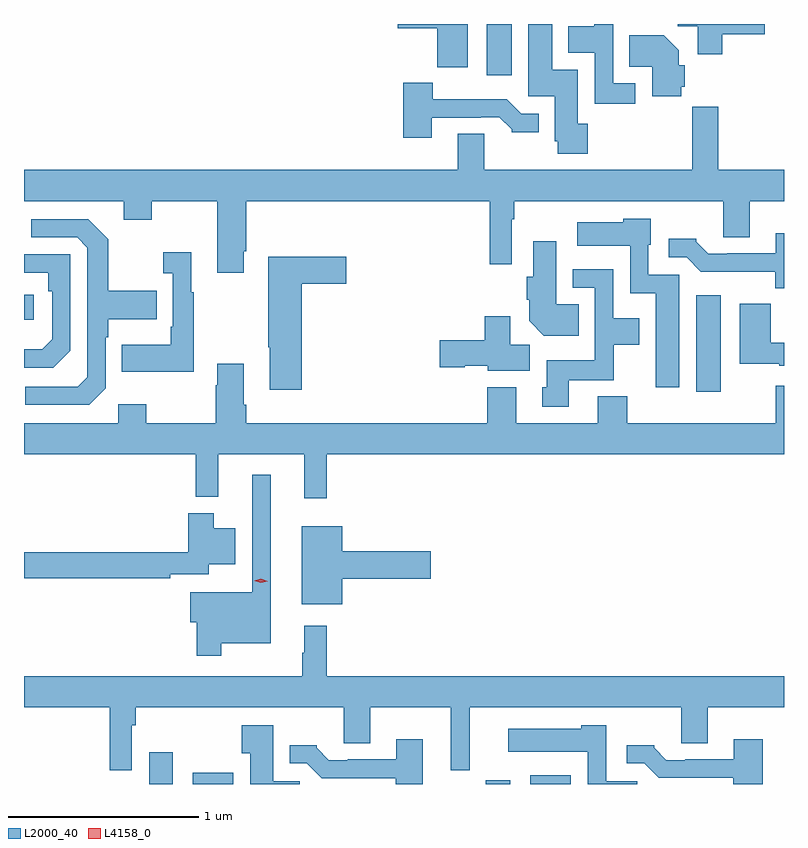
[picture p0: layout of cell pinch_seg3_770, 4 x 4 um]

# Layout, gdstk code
import gdstk
lib = gdstk.Library(unit=1e-6, precision=1e-09)
def R(c, l, rs):  # rectangles x0, y0, x1, y1
    for r in rs: c.add(gdstk.rectangle(r[:2], r[2:], *l))
def P(c, l, *ps):  # polygons
    for p in ps: c.add(gdstk.Polygon(p, *l))
L2000_40 = (2000, 40)
L4158_0 = (4158, 0)

pinch_seg3_770 = lib.new_cell('pinch_seg3_770')
R(pinch_seg3_770, L2000_40, [(765.65,732.48,765.772,732.646), (765.879,732.48,766.092,732.538), (767.419,732.48,767.548,732.499), (767.655,732.48,767.868,732.525), (768.527,734.544,768.658,735.052), (764.99,734.924,765.04,735.054), (767.426,736.209,767.557,736.48)])
P(pinch_seg3_770, L2000_40, [(767.326,736.48),(766.956,736.48),(766.956,736.457),(767.164,736.457),(767.164,736.253),(767.326,736.253)],
  [(767.957,735.954),(767.905,735.954),(767.905,736.24),(767.77,736.24),(767.77,736.48),(767.645,736.48),(767.645,736.101),(767.783,736.101),(767.783,735.864),(767.8,735.864),(767.8,735.798),(767.957,735.798)],
  [(768.666,736.427),(768.889,736.427),(768.889,736.48),(768.431,736.48),(768.431,736.468),(768.536,736.468),(768.536,736.32),(768.666,736.32)],
  [(768.208,736.167),(768.09,736.167),(768.09,736.48),(767.992,736.48),(767.992,736.468),(767.855,736.468),(767.855,736.328),(767.994,736.328),(767.994,736.059),(768.208,736.059)],
  [(768.448,736.149),(768.467,736.149),(768.467,736.263),(768.436,736.263),(768.436,736.342),(768.358,736.42),(768.175,736.42),(768.175,736.256),(768.296,736.256),(768.296,736.099),(768.448,736.099)],
  [(767.137,735.987),(767.393,735.987),(767.393,735.99),(767.492,735.99),(767.556,735.926),(767.556,735.911),(767.698,735.911),(767.698,736.008),(767.607,736.008),(767.531,736.084),(767.14,736.084),(767.14,736.171),(766.985,736.171),(766.985,735.882),(767.137,735.882)],
  [(766.147,735.283),(766.16,735.283),(766.16,735.548),(767.44,735.548),(767.44,735.216),(767.556,735.216),(767.556,735.452),(767.569,735.452),(767.569,735.548),(768.671,735.548),(768.671,735.358),(768.811,735.358),(768.811,735.548),(768.99,735.548),(768.99,735.712),(768.644,735.712),(768.644,736.045),(768.508,736.045),(768.508,735.712),(767.413,735.712),(767.413,735.902),(767.273,735.902),(767.273,735.712),(764.99,735.712),(764.99,735.548),(765.515,735.548),(765.515,735.449),(765.663,735.449),(765.663,735.548),(766.007,735.548),(766.007,735.171),(766.147,735.171)],
  [(768.439,735.159),(768.276,735.159),(768.276,735.318),(768.289,735.318),(768.289,735.454),(768.144,735.454),(768.144,735.436),(767.901,735.436),(767.901,735.314),(768.18,735.314),(768.18,735.062),(768.314,735.062),(768.314,734.568),(768.439,734.568)],
  [(765.42,734.562),(765.42,734.831),(765.433,734.831),(765.433,734.927),(765.689,734.927),(765.689,735.075),(765.433,735.075),(765.433,735.347),(765.327,735.453),(765.027,735.453),(765.027,735.357),(765.27,735.357),(765.324,735.303),(765.324,734.622),(765.273,734.571),(764.997,734.571),(764.997,734.475),(765.333,734.475)],
  [(768.99,735.379),(768.947,735.379),(768.947,735.273),(768.691,735.273),(768.691,735.27),(768.592,735.27),(768.528,735.334),(768.528,735.349),(768.384,735.349),(768.384,735.252),(768.477,735.252),(768.553,735.176),(768.945,735.176),(768.945,735.089),(768.99,735.089)],
  [(767.909,735.004),(767.791,735.004),(767.791,735.337),(767.669,735.337),(767.669,735.15),(767.636,735.15),(767.636,735.028),(767.648,735.028),(767.648,734.918),(767.726,734.84),(767.909,734.84)],
  [(765.883,735.067),(765.871,735.067),(765.871,735.28),(765.723,735.28),(765.723,735.167),(765.774,735.167),(765.774,734.887),(765.762,734.887),(765.762,734.791),(765.505,734.791),(765.505,734.651),(765.883,734.651)],
  [(765.234,734.76),(765.234,735.267),(764.99,735.267),(764.99,735.171),(765.118,735.171),(765.118,735.074),(765.138,735.074),(765.138,734.82),(765.085,734.767),(764.99,734.767),(764.99,734.67),(765.144,734.67)],
  [(766.451,735.113),(766.687,735.113),(766.687,735.255),(766.276,735.255),(766.276,734.779),(766.283,734.779),(766.283,734.556),(766.451,734.556)],
  [(767.857,734.606),(768.093,734.606),(768.093,734.792),(768.229,734.792),(768.229,734.932),(768.09,734.932),(768.09,735.189),(767.877,735.189),(767.877,735.093),(767.994,735.093),(767.994,734.71),(767.741,734.71),(767.741,734.568),(767.717,734.568),(767.717,734.466),(767.857,734.466)],
  [(768.99,734.803),(768.92,734.803),(768.92,735.007),(768.758,735.007),(768.758,734.693),(768.966,734.693),(768.966,734.681),(768.99,734.681)],
  [(767.653,734.792),(767.548,734.792),(767.548,734.941),(767.414,734.941),(767.414,734.816),(767.178,734.816),(767.178,734.674),(767.31,734.674),(767.31,734.681),(767.43,734.681),(767.43,734.654),(767.653,734.654)],
  [(766.147,734.476),(766.147,734.692),(766.007,734.692),(766.007,734.579),(766,734.579),(766,734.38),(765.633,734.38),(765.633,734.479),(765.486,734.479),(765.486,734.38),(764.99,734.38),(764.99,734.216),(765.895,734.216),(765.895,733.991),(766.013,733.991),(766.013,734.216),(766.466,734.216),(766.466,733.983),(766.583,733.983),(766.583,734.216),(768.99,734.216),(768.99,734.575),(768.947,734.575),(768.947,734.38),(768.164,734.38),(768.164,734.521),(768.011,734.521),(768.011,734.38),(767.581,734.38),(767.581,734.569),(767.429,734.569),(767.429,734.38),(766.16,734.38),(766.16,734.476)],
  [(766.027,733.22),(766.288,733.22),(766.288,734.107),(766.191,734.107),(766.191,733.489),(765.864,733.489),(765.864,733.331),(765.898,733.331),(765.898,733.155),(766.027,733.155)],
  [(765.76,733.584),(765.963,733.584),(765.963,733.637),(766.102,733.637),(766.102,733.825),(765.988,733.825),(765.988,733.906),(765.854,733.906),(765.854,733.7),(764.99,733.7),(764.99,733.564),(765.76,733.564)],
  [(766.666,733.559),(767.131,733.559),(767.131,733.706),(766.666,733.706),(766.666,733.837),(766.451,733.837),(766.451,733.427),(766.666,733.427)],
  [(765.558,732.788),(765.578,732.788),(765.578,732.884),(766.673,732.884),(766.673,732.694),(766.813,732.694),(766.813,732.884),(767.237,732.884),(767.237,732.552),(767.336,732.552),(767.336,732.884),(768.449,732.884),(768.449,732.694),(768.589,732.694),(768.589,732.884),(768.99,732.884),(768.99,733.048),(766.583,733.048),(766.583,733.312),(766.466,733.312),(766.466,733.172),(766.455,733.172),(766.455,733.048),(764.99,733.048),(764.99,732.884),(765.442,732.884),(765.442,732.552),(765.558,732.552)],
  [(768.217,732.495),(768.054,732.495),(768.054,732.79),(767.922,732.79),(767.922,732.772),(767.538,732.772),(767.538,732.65),(767.958,732.65),(767.958,732.48),(768.217,732.48)],
  [(766.441,732.495),(766.303,732.495),(766.303,732.79),(766.135,732.79),(766.135,732.643),(766.181,732.643),(766.181,732.48),(766.441,732.48)],
  [(768.878,732.715),(768.725,732.715),(768.725,732.609),(768.469,732.609),(768.469,732.606),(768.37,732.606),(768.306,732.67),(768.306,732.685),(768.162,732.685),(768.162,732.588),(768.255,732.588),(768.331,732.512),(768.723,732.512),(768.723,732.48),(768.878,732.48)],
  [(767.089,732.715),(766.949,732.715),(766.949,732.609),(766.693,732.609),(766.693,732.606),(766.594,732.606),(766.53,732.67),(766.53,732.685),(766.388,732.685),(766.388,732.588),(766.479,732.588),(766.558,732.51),(766.947,732.51),(766.947,732.48),(767.089,732.48)])
P(pinch_seg3_770, L4158_0, [(766.236,733.539),(766.201,733.551),(766.201,733.551),(766.201,733.551),(766.237,733.559),(766.272,733.548),(766.272,733.547),(766.272,733.547)])

lib.write_gds('pinch_seg3_770.gds')
